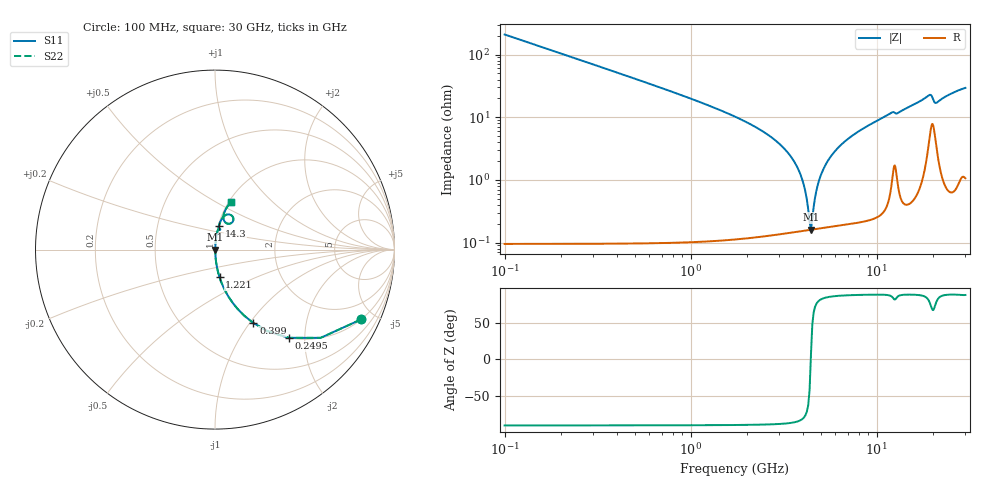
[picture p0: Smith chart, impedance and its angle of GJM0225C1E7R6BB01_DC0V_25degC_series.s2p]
!Murata Part Number: GJM0225C1E7R6BB01
!These Parameters are Measured in Series Mode Connection
!  o--ll--o
!Port1  Port2
!  o------o
!Operation Temp=25[degC], DC Bias Voltage=0[V]
!Freq. Start=100[MHz] Stop=30[GHz], 401[Steps]
!Data Generated on Feb 1, 2023
# Hz S RI R 50
!Freq.(Hz) S11(Real) S11(Imag) S21(Real) S21(Imag) S12(Real) S12(Imag) S22(Real) S22(Imag)
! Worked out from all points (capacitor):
!   401 points, 100 MHz to 30 GHz, reference 50 ohm
!   read as one part in series: C = 7.6 pF near 249.5 MHz
!   lowest |Z| = 161 mohm at 4.436 GHz (marker M1)
!   series resonance near 4.426 GHz, so ESL is about 170 pH
!   S11 on the Smith chart (normalised r, x): 100 MHz: 1.00, -4.19; 249.5 MHz: 1.00, -1.67; 399 MHz: 1.00, -1.04; 1.221 GHz: 1.00, -0.32; 14.3 GHz: 1.01, +0.27; 30 GHz: 1.02, +0.59
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1e8  0.814 -0.3888  0.186 0.3888  0.186 0.3888  0.814 -0.3888
2.495e8  0.4119 -0.4916  0.5881 0.4916  0.5881 0.4916  0.4119 -0.4916
3.99e8  0.2136 -0.4089  0.7864 0.4089  0.7864 0.4089  0.2136 -0.4089
6.98e8  0.0796 -0.269  0.9204 0.269  0.9204 0.269  0.0796 -0.269
1.22125e9  0.0254 -0.1541  0.9746 0.1541  0.9746 0.1541  0.0254 -0.1541
3.5385e9  0.0019 -0.0212  0.9981 0.0212  0.9981 0.0212  0.0019 -0.0212
3.987e9  0.00162 -0.00984  0.9984 0.00984  0.9984 0.00984  0.00162 -0.00984
4.286e9  0.00158 -0.00303  0.9984 0.00303  0.9984 0.00303  0.00158 -0.00303
4.4355e9  0.0016 0.000195  0.9984 -0.000195  0.9984 -0.000195  0.0016 0.000195
4.51025e9  0.00161 0.00177  0.9984 -0.00177  0.9984 -0.00177  0.00161 0.00177
4.80925e9  0.00172 0.00781  0.9983 -0.00781  0.9983 -0.00781  0.00172 0.00781
5.10825e9  0.00188 0.0135  0.9981 -0.0135  0.9981 -0.0135  0.00188 0.0135
5.781e9  0.00244 0.0254  0.9976 -0.0254  0.9976 -0.0254  0.00244 0.0254
6.75275e9  0.00359 0.0409  0.9964 -0.0409  0.9964 -0.0409  0.00359 0.0409
1.01165e10  0.0103 0.0877  0.9897 -0.0877  0.9897 -0.0877  0.0103 0.0877
1.43025e10  0.0222 0.1335  0.9778 -0.1335  0.9778 -0.1335  0.0222 0.1335
1.505e10  0.0253 0.1436  0.9747 -0.1436  0.9747 -0.1436  0.0253 0.1436
1.90865e10  0.0788 0.1958  0.9212 -0.1958  0.9212 -0.1958  0.0788 0.1958
2.005825e10  0.0971 0.1534  0.9029 -0.1534  0.9029 -0.1534  0.0971 0.1534
2.080575e10  0.0613 0.1484  0.9387 -0.1484  0.9387 -0.1484  0.0613 0.1484
2.50665e10  0.0583 0.2215  0.9417 -0.2215  0.9417 -0.2215  0.0583 0.2215
3e10  0.0877 0.2653  0.9123 -0.2653  0.9123 -0.2653  0.0877 0.2653
